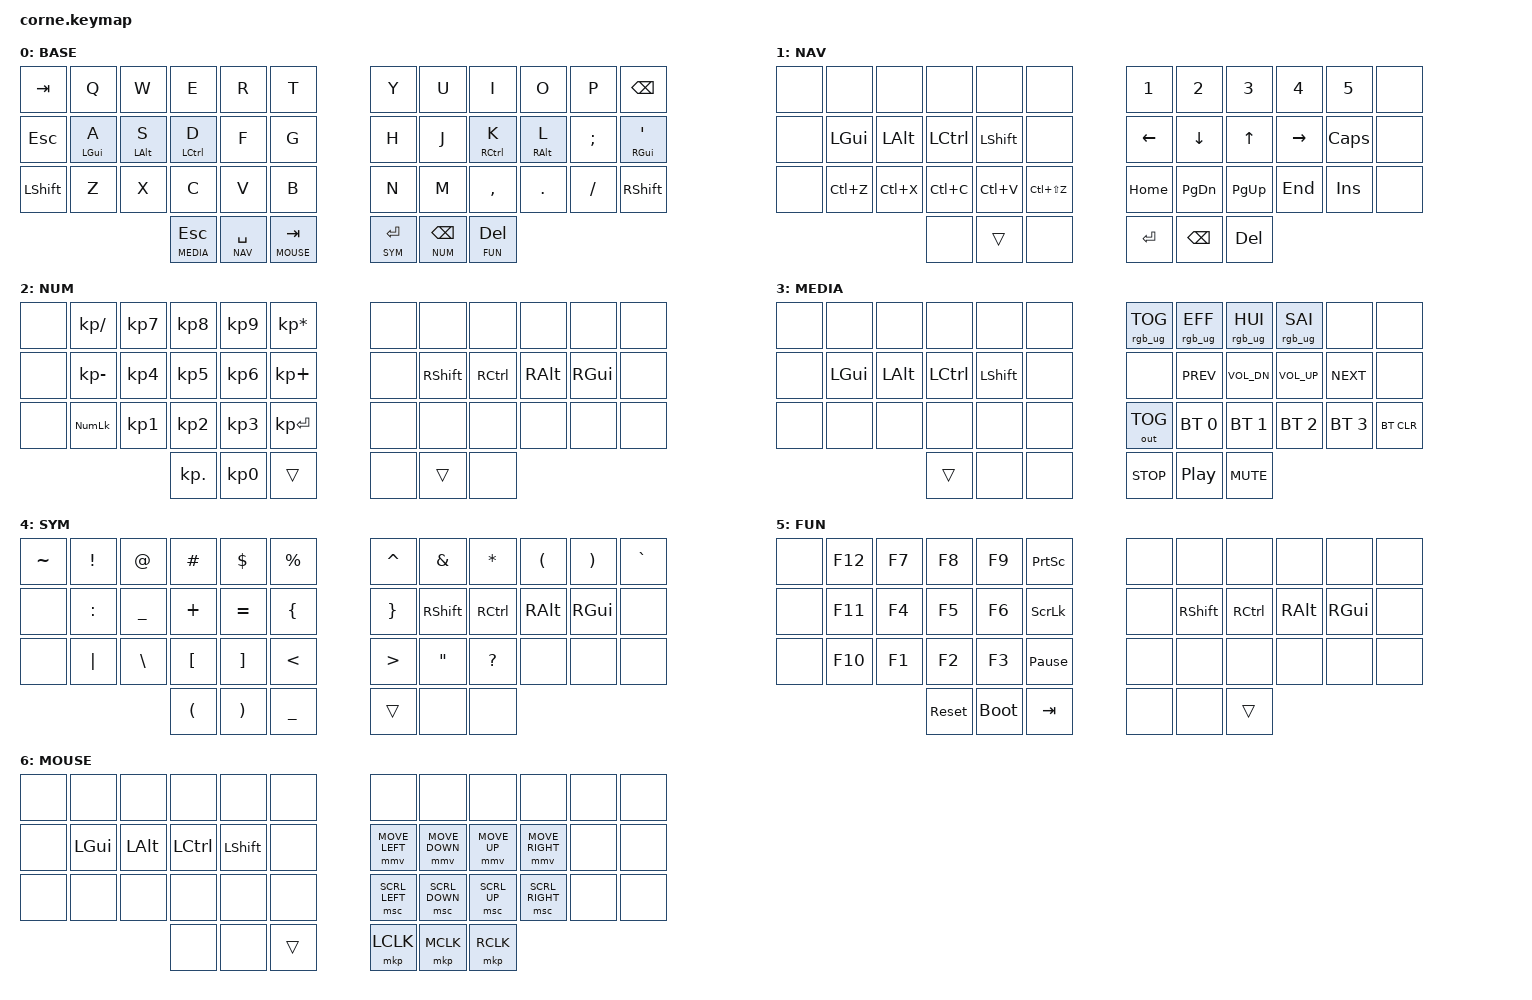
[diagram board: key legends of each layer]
/*
 * Copyright (c) 2020 The ZMK Contributors
 *
 * SPDX-License-Identifier: MIT
 */

//
//   Miryoku-style layout — QWERTY base, vim arrows (HJKL), GAC home row mods
//   Corne (42-key), Nice!Nano v2, Sway/Linux primary
//
//   Layer 0: BASE    — QWERTY + home row mods (GAC, no shift on home row)
//   Layer 1: NAV     — vim arrows, clipboard (LC), nav (hold SPACE)
//   Layer 2: NUM     — numpad left hand (hold BSPC)
//   Layer 3: MEDIA   — media, BT, RGB (hold ESC)
//   Layer 4: SYM     — symbols (hold RET)
//   Layer 5: FUN     — function keys + reset/boot (hold DEL)
//   Layer 6: MOUSE   — mouse movement, scroll, buttons (hold TAB)

#include <behaviors.dtsi>
#include <dt-bindings/zmk/bt.h>
#include <dt-bindings/zmk/keys.h>
#include <dt-bindings/zmk/outputs.h>
#include <dt-bindings/zmk/pointing.h>
#include <dt-bindings/zmk/rgb.h>

#define BASE  0
#define NAV   1
#define NUM   2
#define MEDIA 3
#define SYM   4
#define FUN   5
#define MOUSE 6

// Corne key positions (42 keys):
// Row 0:  0  1  2  3  4  5    6  7  8  9  10  11
// Row 1: 12 13 14 15 16 17   18 19 20 21  22  23
// Row 2: 24 25 26 27 28 29   30 31 32 33  34  35
// Thumb:          36 37 38   39 40 41

&mt {
    flavor = "tap-preferred";
    tapping-term-ms = <200>;
    quick-tap-ms = <175>;
    require-prior-idle-ms = <150>;
};

&lt {
    flavor = "balanced";
    tapping-term-ms = <200>;
    quick-tap-ms = <175>;
};

/ {
    combos {
        compatible = "zmk,combos";

        combo_caps_word {
            bindings = <&caps_word>;
            key-positions = <16 19>;        // F + J (index home row)
            timeout-ms = <30>;
            require-prior-idle-ms = <150>;
        };

        combo_esc {
            bindings = <&kp ESC>;
            key-positions = <2 3>;          // W + E
            timeout-ms = <30>;
            require-prior-idle-ms = <150>;
        };

        combo_bspc {
            bindings = <&kp BSPC>;
            key-positions = <8 9>;          // I + O
            timeout-ms = <30>;
            require-prior-idle-ms = <150>;
        };

        combo_del {
            bindings = <&kp DEL>;
            key-positions = <9 10>;         // O + P
            timeout-ms = <30>;
            require-prior-idle-ms = <150>;
        };
    };

    keymap {
        compatible = "zmk,keymap";

        base_layer {
            display-name = "BASE";
            bindings = <
// ╭──────────────┬──────────────┬──────────────┬──────────────┬──────────────┬──────────────╮   ╭──────────────┬──────────────┬──────────────┬──────────────┬──────────────┬──────────────╮
    &kp TAB        &kp Q          &kp W          &kp E          &kp R          &kp T              &kp Y          &kp U          &kp I          &kp O          &kp P          &kp BSPC
// ├──────────────┼──────────────┼──────────────┼──────────────┼──────────────┼──────────────┤   ├──────────────┼──────────────┼──────────────┼──────────────┼──────────────┼──────────────┤
    &kp ESC        &mt LGUI A     &mt LALT S     &mt LCTRL D    &kp F          &kp G              &kp H          &kp J          &mt RCTRL K    &mt RALT L     &kp SEMI       &mt RGUI SQT
// ├──────────────┼──────────────┼──────────────┼──────────────┼──────────────┼──────────────┤   ├──────────────┼──────────────┼──────────────┼──────────────┼──────────────┼──────────────┤
    &kp LSHFT      &kp Z          &kp X          &kp C          &kp V          &kp B              &kp N          &kp M          &kp COMMA      &kp DOT        &kp FSLH       &kp RSHFT
// ╰──────────────┴──────────────┴──────────────┼──────────────┼──────────────┼──────────────┤   ├──────────────┼──────────────┼──────────────┼──────────────┴──────────────┴──────────────╯
                                                 &lt MEDIA ESC  &lt NAV SPACE  &lt MOUSE TAB      &lt SYM RET    &lt NUM BSPC   &lt FUN DEL
//                                              ╰──────────────┴──────────────┴──────────────╯   ╰──────────────┴──────────────┴──────────────╯
            >;
        };

        nav_layer {
            display-name = "NAV";
            bindings = <
// ╭──────────────┬──────────────┬──────────────┬──────────────┬──────────────┬──────────────╮   ╭──────────────┬──────────────┬──────────────┬──────────────┬──────────────┬──────────────╮
    &none          &none          &none          &none          &none          &none              &kp N1         &kp N2         &kp N3         &kp N4         &kp N5         &none
// ├──────────────┼──────────────┼──────────────┼──────────────┼──────────────┼──────────────┤   ├──────────────┼──────────────┼──────────────┼──────────────┼──────────────┼──────────────┤
    &none          &kp LGUI       &kp LALT       &kp LCTRL      &kp LSHFT      &none              &kp LEFT       &kp DOWN       &kp UP         &kp RIGHT      &kp CAPS       &none
// ├──────────────┼──────────────┼──────────────┼──────────────┼──────────────┼──────────────┤   ├──────────────┼──────────────┼──────────────┼──────────────┼──────────────┼──────────────┤
    &none          &kp LC(Z)      &kp LC(X)      &kp LC(C)      &kp LC(V)      &kp LC(LS(Z))      &kp HOME       &kp PG_DN      &kp PG_UP      &kp END        &kp INS        &none
// ╰──────────────┴──────────────┴──────────────┼──────────────┼──────────────┼──────────────┤   ├──────────────┼──────────────┼──────────────┼──────────────┴──────────────┴──────────────╯
                                                 &none          &trans         &none              &kp RET        &kp BSPC       &kp DEL
//                                              ╰──────────────┴──────────────┴──────────────╯   ╰──────────────┴──────────────┴──────────────╯
            >;
        };

        num_layer {
            display-name = "NUM";
            bindings = <
// ╭──────────────┬──────────────┬──────────────┬──────────────┬──────────────┬──────────────╮   ╭──────────────┬──────────────┬──────────────┬──────────────┬──────────────┬──────────────╮
    &none          &kp KP_DIVIDE  &kp KP_N7      &kp KP_N8      &kp KP_N9      &kp KP_MULTIPLY    &none          &none          &none          &none          &none          &none
// ├──────────────┼──────────────┼──────────────┼──────────────┼──────────────┼──────────────┤   ├──────────────┼──────────────┼──────────────┼──────────────┼──────────────┼──────────────┤
    &none          &kp KP_MINUS   &kp KP_N4      &kp KP_N5      &kp KP_N6      &kp KP_PLUS        &none          &kp RSHFT      &kp RCTRL      &kp RALT       &kp RGUI       &none
// ├──────────────┼──────────────┼──────────────┼──────────────┼──────────────┼──────────────┤   ├──────────────┼──────────────┼──────────────┼──────────────┼──────────────┼──────────────┤
    &none          &kp KP_NUMLOCK &kp KP_N1      &kp KP_N2      &kp KP_N3      &kp KP_ENTER       &none          &none          &none          &none          &none          &none
// ╰──────────────┴──────────────┴──────────────┼──────────────┼──────────────┼──────────────┤   ├──────────────┼──────────────┼──────────────┼──────────────┴──────────────┴──────────────╯
                                                 &kp KP_DOT     &kp KP_N0      &trans             &none          &trans         &none
//                                              ╰──────────────┴──────────────┴──────────────╯   ╰──────────────┴──────────────┴──────────────╯
            >;
        };

        media_layer {
            display-name = "MEDIA";
            bindings = <
// ╭──────────────┬──────────────┬──────────────┬──────────────┬──────────────┬──────────────╮   ╭────────────────┬────────────────┬────────────────┬────────────────┬──────────────┬──────────────╮
    &none          &none          &none          &none          &none          &none              &rgb_ug RGB_TOG  &rgb_ug RGB_EFF  &rgb_ug RGB_HUI  &rgb_ug RGB_SAI  &none          &none
// ├──────────────┼──────────────┼──────────────┼──────────────┼──────────────┼──────────────┤   ├────────────────┼────────────────┼────────────────┼────────────────┼──────────────┼──────────────┤
    &none          &kp LGUI       &kp LALT       &kp LCTRL      &kp LSHFT      &none              &none            &kp C_PREV       &kp C_VOL_DN     &kp C_VOL_UP     &kp C_NEXT     &none
// ├──────────────┼──────────────┼──────────────┼──────────────┼──────────────┼──────────────┤   ├────────────────┼────────────────┼────────────────┼────────────────┼──────────────┼──────────────┤
    &none          &none          &none          &none          &none          &none              &out OUT_TOG     &bt BT_SEL 0     &bt BT_SEL 1     &bt BT_SEL 2     &bt BT_SEL 3   &bt BT_CLR
// ╰──────────────┴──────────────┴──────────────┼──────────────┼──────────────┼──────────────┤   ├────────────────┼────────────────┼────────────────┼────────────────┴──────────────┴──────────────╯
                                                 &trans         &none          &none              &kp C_STOP       &kp C_PP         &kp C_MUTE
//                                              ╰──────────────┴──────────────┴──────────────╯   ╰────────────────┴────────────────┴────────────────╯
            >;
        };

        sym_layer {
            display-name = "SYM";
            // Top row mirrors US keyboard number row left→right: ~ ! @ # $ % ^ & * ( ) `
            bindings = <
// ╭──────────────┬──────────────┬──────────────┬──────────────┬──────────────┬──────────────╮   ╭──────────────┬──────────────┬──────────────┬──────────────┬──────────────┬──────────────╮
    &kp TILDE      &kp EXCL       &kp AT         &kp HASH       &kp DLLR       &kp PRCNT          &kp CARET      &kp AMPS       &kp ASTRK      &kp LPAR       &kp RPAR       &kp GRAVE
// ├──────────────┼──────────────┼──────────────┼──────────────┼──────────────┼──────────────┤   ├──────────────┼──────────────┼──────────────┼──────────────┼──────────────┼──────────────┤
    &none          &kp COLON      &kp UNDER      &kp PLUS       &kp EQUAL      &kp LBRC           &kp RBRC       &kp RSHFT      &kp RCTRL      &kp RALT       &kp RGUI       &none
// ├──────────────┼──────────────┼──────────────┼──────────────┼──────────────┼──────────────┤   ├──────────────┼──────────────┼──────────────┼──────────────┼──────────────┼──────────────┤
    &none          &kp PIPE       &kp BSLH       &kp LBKT       &kp RBKT       &kp LT             &kp GT         &kp DQT        &kp QMARK      &none          &none          &none
// ╰──────────────┴──────────────┴──────────────┼──────────────┼──────────────┼──────────────┤   ├──────────────┼──────────────┼──────────────┼──────────────┴──────────────┴──────────────╯
                                                 &kp LPAR       &kp RPAR       &kp UNDER          &trans         &none          &none
//                                              ╰──────────────┴──────────────┴──────────────╯   ╰──────────────┴──────────────┴──────────────╯
            >;
        };

        fun_layer {
            display-name = "FUN";
            bindings = <
// ╭──────────────┬──────────────┬──────────────┬──────────────┬──────────────┬──────────────╮   ╭──────────────┬──────────────┬──────────────┬──────────────┬──────────────┬──────────────╮
    &none          &kp F12        &kp F7         &kp F8         &kp F9         &kp PSCRN          &none          &none          &none          &none          &none          &none
// ├──────────────┼──────────────┼──────────────┼──────────────┼──────────────┼──────────────┤   ├──────────────┼──────────────┼──────────────┼──────────────┼──────────────┼──────────────┤
    &none          &kp F11        &kp F4         &kp F5         &kp F6         &kp SLCK           &none          &kp RSHFT      &kp RCTRL      &kp RALT       &kp RGUI       &none
// ├──────────────┼──────────────┼──────────────┼──────────────┼──────────────┼──────────────┤   ├──────────────┼──────────────┼──────────────┼──────────────┼──────────────┼──────────────┤
    &none          &kp F10        &kp F1         &kp F2         &kp F3         &kp PAUSE_BREAK    &none          &none          &none          &none          &none          &none
// ╰──────────────┴──────────────┴──────────────┼──────────────┼──────────────┼──────────────┤   ├──────────────┼──────────────┼──────────────┼──────────────┴──────────────┴──────────────╯
                                                 &sys_reset     &bootloader    &kp TAB            &none          &none          &trans
//                                              ╰──────────────┴──────────────┴──────────────╯   ╰──────────────┴──────────────┴──────────────╯
            >;
        };

        mouse_layer {
            display-name = "MOUSE";
            bindings = <
// ╭──────────────┬──────────────┬──────────────┬──────────────┬──────────────┬──────────────╮   ╭─────────────────┬─────────────────┬─────────────────┬──────────────────┬──────────────┬──────────────╮
    &none          &none          &none          &none          &none          &none              &none             &none             &none             &none              &none          &none
// ├──────────────┼──────────────┼──────────────┼──────────────┼──────────────┼──────────────┤   ├─────────────────┼─────────────────┼─────────────────┼──────────────────┼──────────────┼──────────────┤
    &none          &kp LGUI       &kp LALT       &kp LCTRL      &kp LSHFT      &none              &mmv MOVE_LEFT    &mmv MOVE_DOWN    &mmv MOVE_UP      &mmv MOVE_RIGHT    &none          &none
// ├──────────────┼──────────────┼──────────────┼──────────────┼──────────────┼──────────────┤   ├─────────────────┼─────────────────┼─────────────────┼──────────────────┼──────────────┼──────────────┤
    &none          &none          &none          &none          &none          &none              &msc SCRL_LEFT    &msc SCRL_DOWN    &msc SCRL_UP      &msc SCRL_RIGHT    &none          &none
// ╰──────────────┴──────────────┴──────────────┼──────────────┼──────────────┼──────────────┤   ├─────────────────┼─────────────────┼─────────────────┼──────────────────┴──────────────┴──────────────╯
                                                 &none          &none          &trans             &mkp LCLK         &mkp MCLK         &mkp RCLK
//                                              ╰──────────────┴──────────────┴──────────────╯   ╰─────────────────┴─────────────────┴─────────────────╯
            >;
        };
    };
};
